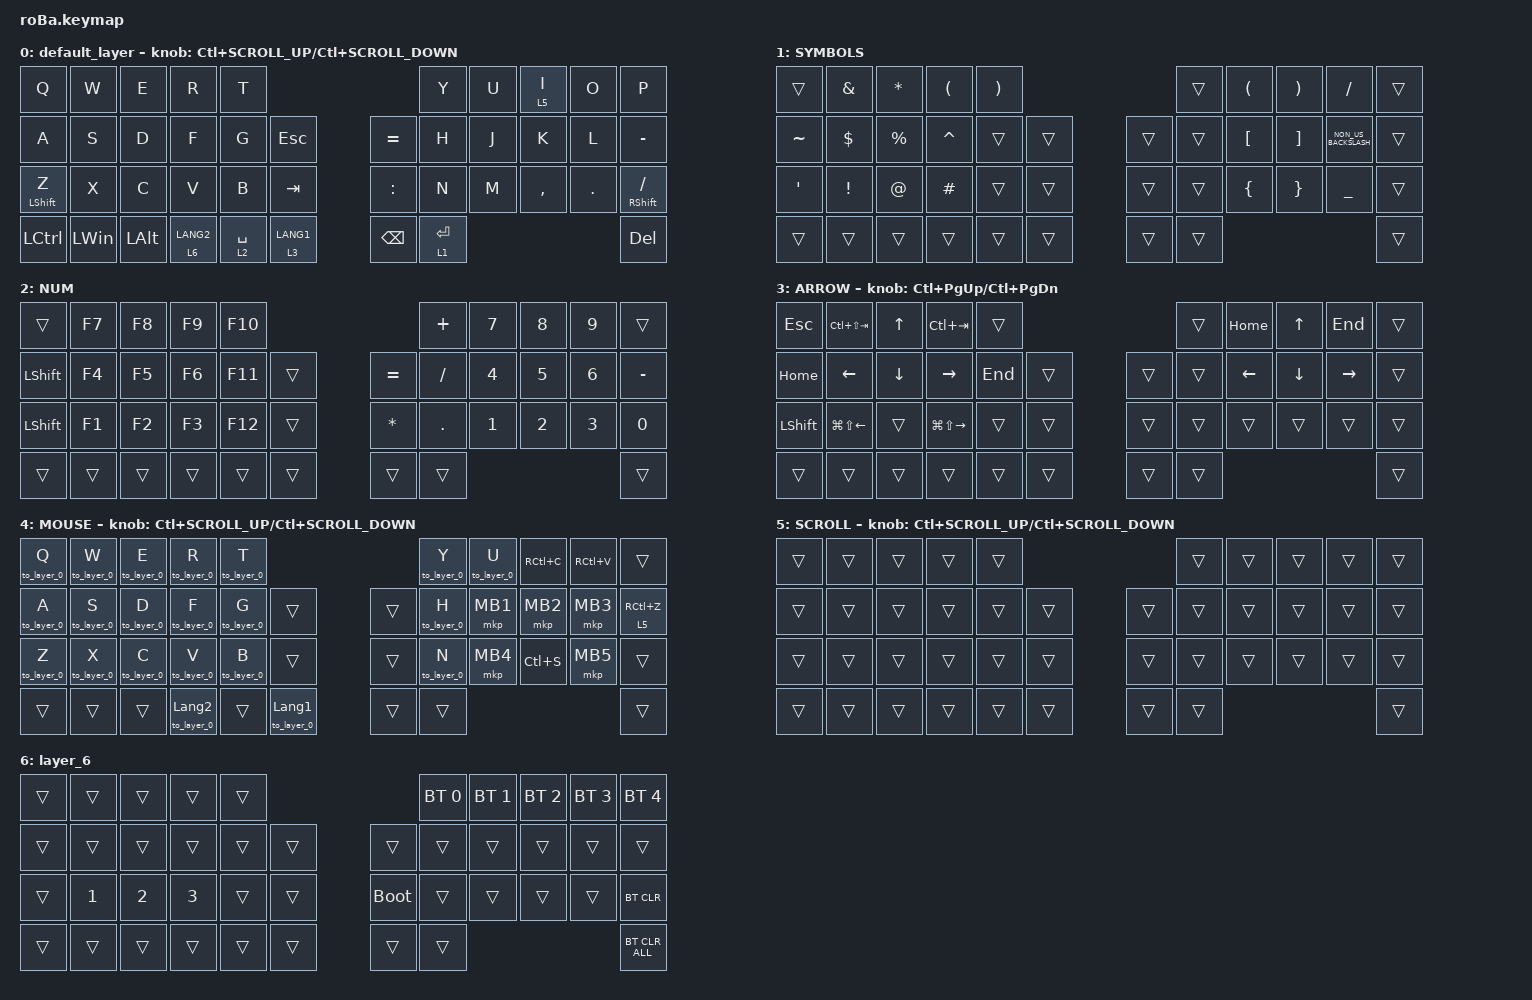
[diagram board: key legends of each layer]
#include <behaviors.dtsi>
#include <dt-bindings/zmk/bt.h>
#include <dt-bindings/zmk/keys.h>
#include <dt-bindings/zmk/pointing.h>

#define ZMK_POINTING_DEFAULT_SCROLL_VAL 100
#define MOUSE 4
#define SCROLL 5
#define NUM 6

&mt {
    flavor = "balanced";
    quick-tap-ms = <0>;
};

&trackball {
    automouse-layer = <4>;
    scroll-layers = <5>;

    // arrows {
    //     layers = <3>;
    //     bindings =
    //         <&kp RIGHT_ARROW>,
    //         <&kp LEFT_ARROW>,
    //         <&kp UP_ARROW>,
    //         <&kp DOWN_ARROW>;
    //     tick = <10>;
    //     wait-ms = <5>;
    //     tap-ms = <5>;
    // };
};

/ {
    combos {
        compatible = "zmk,combos";

        tab {
            bindings = <&kp TAB>;
            key-positions = <11 12>;
        };

        shift_tab {
            bindings = <&kp LS(TAB)>;
            key-positions = <12 13>;
        };

        muhennkann {
            bindings = <&to_layer_0 INT_MUHENKAN>;
            key-positions = <11 10>;
        };

        double_quotation {
            bindings = <&kp DOUBLE_QUOTES>;
            key-positions = <20 21>;
        };

        eq {
            bindings = <&kp EQUAL>;
            key-positions = <24 25>;
        };
    };

    macros {
        to_layer_0: to_layer_0 {
            compatible = "zmk,behavior-macro-one-param";
            #binding-cells = <1>;
            bindings = <&to 0 &macro_param_1to1 &kp MACRO_PLACEHOLDER>;
            label = "TO_LAYER_0";
        };

        mkp_exit_AML: mkp_exit_AML {
            compatible = "zmk,behavior-macro-one-param";
            #binding-cells = <1>;
            bindings =
                <&macro_press>,
                <&macro_param_1to1 &mkp MACRO_PLACEHOLDER>,
                <&macro_pause_for_release>,
                <&macro_release>,
                <&macro_param_1to1 &mkp MACRO_PLACEHOLDER>,
                <&macro_tap>,
                <&sl 4>;

            label = "MKP_EXIT_AML";
        };
    };

    behaviors {
        lt_to_layer_0: lt_to_layer_0 {
            compatible = "zmk,behavior-hold-tap";
            label = "LAYER_TAP_TO_0";
            bindings = <&mo>, <&to_layer_0>;

            #binding-cells = <2>;
            tapping-term-ms = <200>;
        };

        scroll_up_down: behavior_sensor_rotate_mouse_wheel_up_down {
            compatible = "zmk,behavior-sensor-rotate";
            #sensor-binding-cells = <0>;
            bindings = <&msc SCRL_DOWN>, <&msc SCRL_UP>;

            // 追加: スクロールのタップ時間を設定 (20ms)

            tap-ms = <20>;
        };
    };

    keymap {
        compatible = "zmk,keymap";

        default_layer {
            bindings = <
&kp Q             &kp W         &kp E         &kp R                   &kp T                                                   &kp Y        &kp U  &lt 5 I    &kp O    &kp P
&kp A             &kp S         &kp D         &kp F                   &kp G        &kp ESCAPE                  &kp EQUAL      &kp H        &kp J  &kp K      &kp L    &kp MINUS
&mt LEFT_SHIFT Z  &kp X         &kp C         &kp V                   &kp B        &kp TAB                     &kp COLON      &kp N        &kp M  &kp COMMA  &kp DOT  &mt RIGHT_SHIFT SLASH
&kp LCTRL         &kp LEFT_WIN  &kp LEFT_ALT  &lt_to_layer_0 6 LANG2  &lt 2 SPACE  &lt_to_layer_0 3 LANG1      &kp BACKSPACE  &lt 1 ENTER                             &kp DEL
            >;

            sensor-bindings = <&inc_dec_kp LC(K_SCROLL_UP) LC(K_SCROLL_DOWN)>;
        };

        SYMBOLS {
            bindings = <
&trans     &kp AMPERSAND    &kp ASTERISK  &kp LEFT_PARENTHESIS  &kp RIGHT_PARENTHESIS                      &trans  &kp LEFT_PARENTHESIS  &kp RIGHT_PARENTHESIS  &kp SLASH             &trans
&kp TILDE  &kp DOLLAR       &kp PERCENT   &kp CARET             &trans                 &trans      &trans  &trans  &kp LEFT_BRACKET      &kp RIGHT_BRACKET      &kp NON_US_BACKSLASH  &trans
&kp SQT    &kp EXCLAMATION  &kp AT_SIGN   &kp HASH              &trans                 &trans      &trans  &trans  &kp LEFT_BRACE        &kp RIGHT_BRACE        &kp UNDERSCORE        &trans
&trans     &trans           &trans        &trans                &trans                 &trans      &trans  &trans                                                                     &trans
            >;
        };

        NUM {
            bindings = <
&trans          &kp F7  &kp F8  &kp F9  &kp F10                            &kp PLUS    &kp N7        &kp N8        &kp N9        &trans
&kp LEFT_SHIFT  &kp F4  &kp F5  &kp F6  &kp F11  &trans      &kp EQUAL     &kp SLASH   &kp NUMBER_4  &kp N5        &kp NUMBER_6  &kp MINUS
&kp LEFT_SHIFT  &kp F1  &kp F2  &kp F3  &kp F12  &trans      &kp ASTERISK  &kp PERIOD  &kp NUMBER_1  &kp NUMBER_2  &kp NUMBER_3  &kp NUMBER_0
&trans          &trans  &trans  &trans  &trans   &trans      &trans        &trans                                                &trans
            >;
        };

        ARROW {
            bindings = <
&kp ESCAPE      &kp LC(LS(TAB))         &kp UP_ARROW    &kp LC(TAB)              &trans                       &trans  &kp HOME  &kp UP_ARROW  &kp END    &trans
&kp HOME        &kp LEFT_ARROW          &kp DOWN_ARROW  &kp RIGHT_ARROW          &kp END  &trans      &trans  &trans  &kp LEFT  &kp DOWN      &kp RIGHT  &trans
&kp LEFT_SHIFT  &kp LG(LS(LEFT_ARROW))  &trans          &kp LG(LS(RIGHT_ARROW))  &trans   &trans      &trans  &trans  &trans    &trans        &trans     &trans
&trans          &trans                  &trans          &trans                   &trans   &trans      &trans  &trans                                     &trans
            >;

            sensor-bindings = <&inc_dec_kp LC(PAGE_UP) LC(PAGE_DOWN)>;
        };

        MOUSE {
            bindings = <
&to_layer_0 Q  &to_layer_0 W  &to_layer_0 E  &to_layer_0 R           &to_layer_0 T                                      &to_layer_0 Y  &to_layer_0 U  &kp RC(C)  &kp RC(V)  &trans
&to_layer_0 A  &to_layer_0 S  &to_layer_0 D  &to_layer_0 F           &to_layer_0 G  &trans                      &trans  &to_layer_0 H  &mkp MB1       &mkp MB2   &mkp MB3   &lt 5 RC(Z)
&to_layer_0 Z  &to_layer_0 X  &to_layer_0 C  &to_layer_0 V           &to_layer_0 B  &trans                      &trans  &to_layer_0 N  &mkp MB4       &kp LC(S)  &mkp MB5   &trans
&trans         &trans         &trans         &to_layer_0 LANGUAGE_2  &trans         &to_layer_0 LANGUAGE_1      &trans  &trans                                              &trans
            >;

            sensor-bindings = <&inc_dec_kp LC(K_SCROLL_UP) LC(K_SCROLL_DOWN)>;
        };

        SCROLL {
            bindings = <
&trans  &trans  &trans  &trans  &trans                      &trans  &trans  &trans  &trans  &trans
&trans  &trans  &trans  &trans  &trans  &trans      &trans  &trans  &trans  &trans  &trans  &trans
&trans  &trans  &trans  &trans  &trans  &trans      &trans  &trans  &trans  &trans  &trans  &trans
&trans  &trans  &trans  &trans  &trans  &trans      &trans  &trans                          &trans
            >;

            sensor-bindings = <&inc_dec_kp LC(K_SCROLL_UP) LC(K_SCROLL_DOWN)>;
        };

        layer_6 {
            bindings = <
&trans  &trans        &trans        &trans        &trans                           &bt BT_SEL 0  &bt BT_SEL 1  &bt BT_SEL 2  &bt BT_SEL 3  &bt BT_SEL 4
&trans  &trans        &trans        &trans        &trans  &trans      &trans       &trans        &trans        &trans        &trans        &trans
&trans  &kp NUMBER_1  &kp NUMBER_2  &kp NUMBER_3  &trans  &trans      &bootloader  &trans        &trans        &trans        &trans        &bt BT_CLR
&trans  &trans        &trans        &trans        &trans  &trans      &trans       &trans                                                  &bt BT_CLR_ALL
            >;
        };
    };
};
